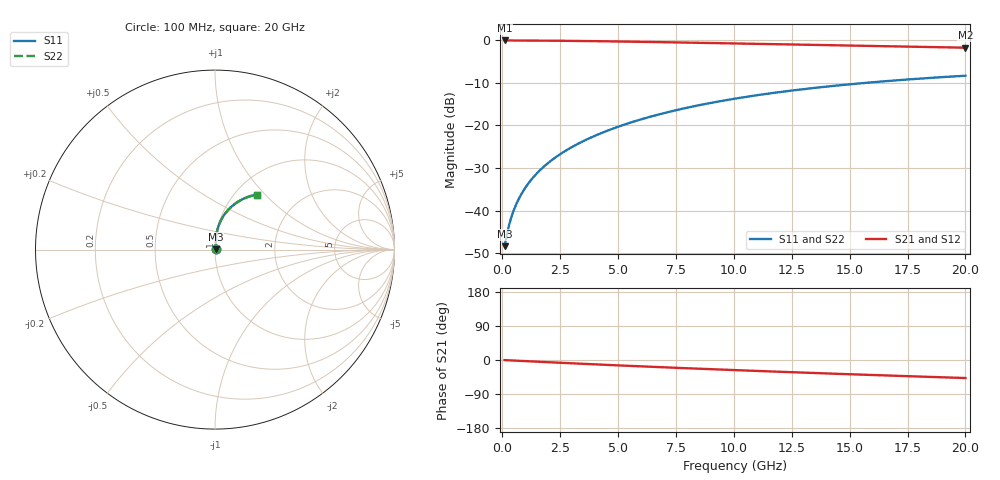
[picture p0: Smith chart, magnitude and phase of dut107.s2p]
! Touchstone file exported from HFSS 2024.1.0
!  File:  C:/UserFiles/LocalFiles/RDL_TSV_Batchsim/temp_RDL_top_107_1778683470.aedt
!  Generated:  10:46:54 PM May 13, 2026
!  Design:  RDL_top
!  Project:  temp_RDL_top_107_1778683470
!  Setup:  Setup1
!  Solution:  Sweep
! Variables:
!  dtsv = 10.80580581um
!  hbump = 3um
!  htsv = 93.32um
!  ldown = 100um
!  lrdl = 678.12um
!  p = 40
!  p1 = 54.78um
!  rhole = 1um
!  t = 450um
!  tdown = 3.915915916um
!  trdl = 3.11um
!  wdown = 15.38538539um
!  wrdl = 26.04um
# GHz S MA R 50.000000
! Terminal data exported
! Port[1] = Box2_T1
! Port[2] = Box2_T2
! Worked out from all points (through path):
!   200 points, 100 MHz to 20 GHz, reference 50 ohm
!   highest |S21| = -0.03 dB at 100 MHz (marker M1); lowest = -1.7 dB at 20 GHz (marker M2)
!   group delay of S21, straight-line fit = 6.54 ps
!   lowest |S11| = -48.4 dB at 100 MHz (marker M3), VSWR 1.01, Z = 50.3 + j0.207 ohm
!   |S11| at or under -10 dB: start of sweep to 15.67 GHz
!   |S22| runs from -48.4 to -8.3 dB; largest |S21 - S12| = 2.7e-15
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0.1  0.003818 32.5  0.9968 -0.3  0.9968 -0.3  0.003818 32.5
! Gamma 0 0 0 0
! Port Impedance 50 0 50 0
0.2  0.005254 49.8  0.9966 -0.6  0.9966 -0.6  0.005254 49.8
0.3  0.006871 58.6  0.9963 -0.9  0.9963 -0.9  0.006871 58.6
0.4  0.008516 64.0  0.9961 -1.2  0.9961 -1.2  0.008516 64.0
0.5  0.01017 67.7  0.9958 -1.5  0.9958 -1.5  0.01017 67.7
0.6  0.01183 70.6  0.9956 -1.8  0.9956 -1.8  0.01183 70.6
0.8  0.01521 74.6  0.9952 -2.4  0.9952 -2.4  0.01521 74.6
1.1  0.0204 78.3  0.9944 -3.3  0.9944 -3.3  0.0204 78.3
1.3  0.02392 79.9  0.9938 -3.8  0.9938 -3.8  0.02392 79.9
1.6  0.02929 81.6  0.9927 -4.7  0.9927 -4.7  0.02929 81.6
2.1  0.03846 83.4  0.9905 -6.2  0.9905 -6.2  0.03846 83.4
2.7  0.04981 84.5  0.9872 -7.9  0.9872 -7.9  0.04981 84.4
3.5  0.06552 84.9  0.9819 -10.1  0.9819 -10.1  0.06551 84.9
4.2  0.07976 84.7  0.9765 -12.1  0.9765 -12.1  0.07975 84.7
5  0.09655 84.0  0.9697 -14.2  0.9697 -14.2  0.09653 84.0
6.8  0.1356 81.3  0.9527 -18.9  0.9527 -18.9  0.1356 81.3
8.4  0.1708 78.2  0.9366 -22.8  0.9366 -22.8  0.1707 78.1
10.1  0.2076 74.4  0.919 -26.8  0.919 -26.8  0.2075 74.4
11.7  0.241 70.8  0.9024 -30.5  0.9024 -30.5  0.2409 70.7
13.4  0.2746 66.9  0.8849 -34.2  0.8849 -34.2  0.2745 66.9
16.7  0.3337 59.6  0.8515 -41.1  0.8515 -41.1  0.3335 59.6
20  0.3841 52.8  0.8195 -47.6  0.8195 -47.6  0.3839 52.8
